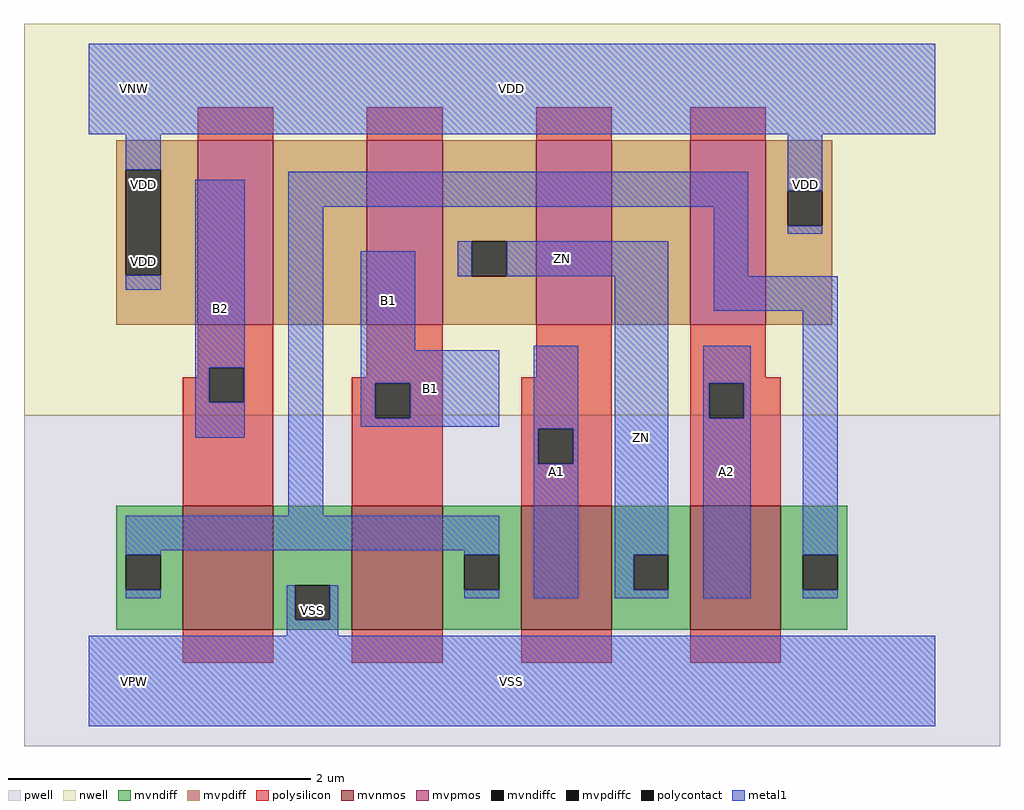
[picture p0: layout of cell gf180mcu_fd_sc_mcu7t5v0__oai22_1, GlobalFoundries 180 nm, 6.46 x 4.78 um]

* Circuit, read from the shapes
.subckt gf180mcu_fd_sc_mcu7t5v0__oai22_1 A1 A2 B1 B2 ZN VDD VNW VPW VSS
XM1 VSS B2 n1 VPW nfet_06v0 w=0.82u l=0.6u
XM2 n1 B1 VSS VPW nfet_06v0 w=0.82u l=0.6u
XM3 ZN A1 n1 VPW nfet_06v0 w=0.82u l=0.6u
XM4 n1 A2 ZN VPW nfet_06v0 w=0.82u l=0.6u
XM5 n2 B2 VDD VNW pfet_06v0 w=1.22u l=0.5u
XM6 ZN B1 n2 VNW pfet_06v0 w=1.22u l=0.5u
XM7 n3 A1 ZN VNW pfet_06v0 w=1.22u l=0.5u
XM8 VDD A2 n3 VNW pfet_06v0 w=1.22u l=0.5u
.ends

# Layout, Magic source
magic
tech gf180mcuD
magscale 1 10
<< nwell >>
rect -86 352 1206 870
<< pwell >>
rect -86 -86 1206 352
<< mvnmos >>
rect 124 68 244 232
rect 348 68 468 232
rect 572 68 692 232
rect 796 68 916 232
<< mvpmos >>
rect 144 472 244 716
rect 368 472 468 716
rect 592 472 692 716
rect 796 472 896 716
<< mvndiff >>
rect 36 167 124 232
rect 36 121 49 167
rect 95 121 124 167
rect 36 68 124 121
rect 244 127 348 232
rect 244 81 273 127
rect 319 81 348 127
rect 244 68 348 81
rect 468 167 572 232
rect 468 121 497 167
rect 543 121 572 167
rect 468 68 572 121
rect 692 167 796 232
rect 692 121 721 167
rect 767 121 796 167
rect 692 68 796 121
rect 916 167 1004 232
rect 916 121 945 167
rect 991 121 1004 167
rect 916 68 1004 121
<< mvpdiff >>
rect 36 677 144 716
rect 36 537 49 677
rect 95 537 144 677
rect 36 472 144 537
rect 244 472 368 716
rect 468 582 592 716
rect 468 536 507 582
rect 553 536 592 582
rect 468 472 592 536
rect 692 472 796 716
rect 896 649 984 716
rect 896 603 925 649
rect 971 603 984 649
rect 896 472 984 603
<< mvndiffc >>
rect 49 121 95 167
rect 273 81 319 127
rect 497 121 543 167
rect 721 121 767 167
rect 945 121 991 167
<< mvpdiffc >>
rect 49 537 95 677
rect 507 536 553 582
rect 925 603 971 649
<< polysilicon >>
rect 144 716 244 760
rect 368 716 468 760
rect 592 716 692 760
rect 796 716 896 760
rect 144 415 244 472
rect 144 402 159 415
rect 124 369 159 402
rect 205 369 244 415
rect 368 402 468 472
rect 592 402 692 472
rect 124 232 244 369
rect 348 394 468 402
rect 348 348 379 394
rect 425 348 468 394
rect 348 232 468 348
rect 572 334 692 402
rect 572 288 595 334
rect 641 288 692 334
rect 572 232 692 288
rect 796 402 896 472
rect 796 394 916 402
rect 796 348 821 394
rect 867 348 916 394
rect 796 232 916 348
rect 124 24 244 68
rect 348 24 468 68
rect 572 24 692 68
rect 796 24 916 68
<< polycontact >>
rect 159 369 205 415
rect 379 348 425 394
rect 595 288 641 334
rect 821 348 867 394
<< metal1 >>
rect 0 724 1120 844
rect 49 677 95 724
rect 49 518 95 537
rect 141 415 206 664
rect 141 369 159 415
rect 205 369 206 415
rect 141 322 206 369
rect 264 628 873 674
rect 264 219 310 628
rect 360 438 432 569
rect 488 536 507 582
rect 553 536 767 582
rect 360 394 543 438
rect 360 348 379 394
rect 425 348 543 394
rect 360 337 543 348
rect 589 334 648 444
rect 589 288 595 334
rect 641 288 648 334
rect 49 173 543 219
rect 49 167 95 173
rect 497 167 543 173
rect 49 110 95 121
rect 262 81 273 127
rect 319 81 330 127
rect 497 110 543 121
rect 589 110 648 288
rect 696 167 767 536
rect 827 536 873 628
rect 925 649 971 724
rect 925 592 971 603
rect 827 490 991 536
rect 696 121 721 167
rect 696 110 767 121
rect 813 394 876 444
rect 813 348 821 394
rect 867 348 876 394
rect 813 110 876 348
rect 945 167 991 490
rect 945 110 991 121
rect 262 60 330 81
rect 0 -60 1120 60
<< labels >>
flabel metal1 s 813 110 876 444 0 FreeSans 400 0 0 0 A2
port 2 nsew default input
flabel metal1 s 360 438 432 569 0 FreeSans 400 0 0 0 B1
port 3 nsew default input
flabel metal1 s 141 322 206 664 0 FreeSans 400 0 0 0 B2
port 4 nsew default input
flabel metal1 s 0 724 1120 844 0 FreeSans 400 0 0 0 VDD
port 6 nsew power bidirectional abutment
flabel metal1 s 262 60 330 127 0 FreeSans 400 0 0 0 VSS
port 9 nsew ground bidirectional abutment
flabel metal1 s 488 536 767 582 0 FreeSans 400 0 0 0 ZN
port 5 nsew default output
flabel metal1 s 589 110 648 444 0 FreeSans 400 0 0 0 A1
port 1 nsew default input
flabel nwell s 10 734 110 834 0 FreeSans 400 0 0 0 VNW
port 7 nsew power bidirectional
flabel pwell s 10 -50 110 50 0 FreeSans 400 0 0 0 VPW
port 8 nsew ground bidirectional
rlabel metal1 s 360 337 543 438 1 B1
port 3 nsew default input
rlabel metal1 s 696 110 767 536 1 ZN
port 5 nsew default output
rlabel metal1 s 925 592 971 724 1 VDD
port 6 nsew power bidirectional abutment
rlabel metal1 s 49 592 95 724 1 VDD
port 6 nsew power bidirectional abutment
rlabel metal1 s 49 518 95 592 1 VDD
port 6 nsew power bidirectional abutment
rlabel metal1 s 0 -60 1120 60 1 VSS
port 9 nsew ground bidirectional abutment
<< properties >>
string FIXED_BBOX 0 0 1120 784
string GDS_END 23790
string GDS_FILE $PDKPATH/libs.ref/gf180mcu_fd_sc_mcu7t5v0/gds/gf180mcu_fd_sc_mcu7t5v0.gds
string GDS_START 20400
string LEFclass core
string LEFsite GF018hv5v_mcu_sc7
string LEFsymmetry X Y
<< end >>
